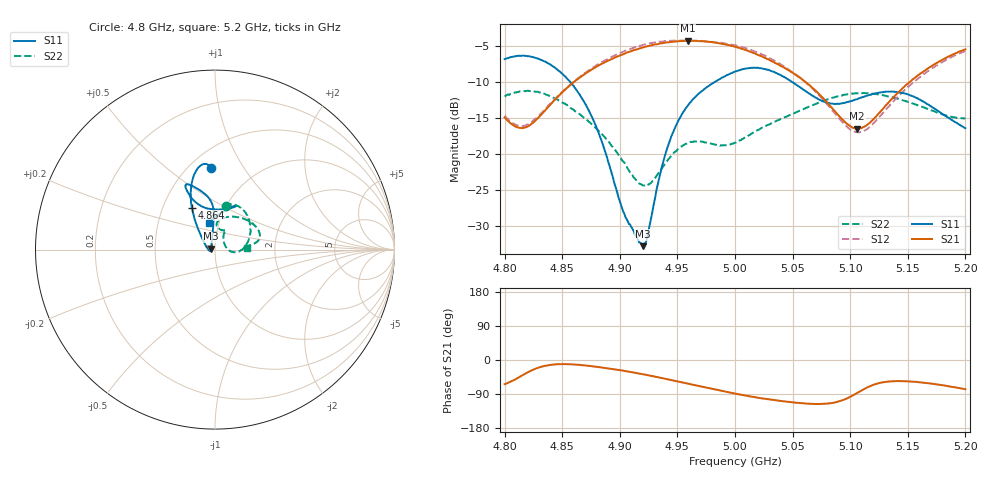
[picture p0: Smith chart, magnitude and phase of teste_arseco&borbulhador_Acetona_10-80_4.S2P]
! Network Analyzer HP8722D
! Hewlett-Packard
! Data name: Linha & Wilkinson
! Saver's name: Rodrigo Anjos
! Comments: Teste da utilização de aquisição
! continua pelo VNA HP8722D
! Time and date: 25/4/2025 15:18
!  Frequency  S11  S21  S12  S22
# HZ  S  MA R 50
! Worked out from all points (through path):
!   401 points, 4.8 GHz to 5.2 GHz, reference 50 ohm
!   highest |S21| = -4.26 dB at 4.959 GHz (marker M1); lowest = -16.5 dB at 5.106 GHz (marker M2)
!   lowest |S11| = -32.7 dB at 4.92 GHz (marker M3), VSWR 1.05, Z = 47.8 + j0.475 ohm
!   |S11| at or under -10 dB: 4.857 GHz to 4.982 GHz (125.3 MHz wide, 2.55 % of centre); 5.05 GHz to end of sweep
!   |S22| runs from -24.4 to -11.2 dB; largest |S21 - S12| = 1.1
!   S11 on the Smith chart (normalised r, x): 4.8 GHz: 0.63, +0.73; 4.864 GHz: 0.70, +0.35; 5.2 GHz: 0.90, +0.27
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4.8e9  0.4557 92.7  0.1795 -63.7  0.1846 69.3  0.2506 76.4
4.82e9  0.4767 99.0  0.1554 -32.5  0.161 97.7  0.2751 61.5
4.843e9  0.4009 108.5  0.2352 -11.9  0.2389 118.3  0.2454 37.8
4.864e9  0.2672 118.8  0.3337 -12.6  0.3377 120.6  0.1917 14.9
4.867e9  0.2452 120.5  0.3476 -13.6  0.3514 120.3  0.1843 11.7
4.883e9  0.1309 131.6  0.417 -19.2  0.4275 117.2  0.1413 -2.2
4.904e9  0.03861 178.4  0.4961 -28.9  0.5164 110.1  0.08729 -6.4
4.92e9  0.02305 167.6  0.5483 -37.8  0.5731 101.8  0.06083 20.5
4.924e9  0.02715 139.8  0.5599 -39.9  0.5811 99.5  0.06209 31.4
4.934e9  0.06762 103.8  0.5821 -46.2  0.6021 93.3  0.07501 50.9
4.945e9  0.1344 94.2  0.5985 -53.3  0.6111 86.5  0.09778 59.8
4.959e9  0.217 92.0  0.6122 -62.4  0.6117 77.4  0.1195 61.3
4.977e9  0.297 97.9  0.6016 -74.1  0.6027 65.8  0.1197 63.6
5e9  0.3733 109.2  0.5547 -88.6  0.5685 51.0  0.12 81.1
5.029e9  0.3839 115.4  0.4553 -103.6  0.4684 34.2  0.1599 83.8
5.067e9  0.2549 107.7  0.2891 -115.7  0.2864 23.4  0.2176 56.5
5.086e9  0.2226 90.5  0.2012 -112.4  0.1947 28.5  0.2473 39.5
5.106e9  0.2404 72.1  0.1499 -87.0  0.1418 55.8  0.2638 24.6
5.116e9  0.2562 66.8  0.1626 -70.8  0.1521 73.2  0.2637 19.2
5.134e9  0.271 64.4  0.2314 -56.6  0.2162 88.6  0.2507 12.6
5.169e9  0.2174 77.3  0.4004 -61.8  0.3829 84.9  0.2028 7.6
5.2e9  0.1512 102.2  0.532 -77.1  0.5172 70.3  0.1766 2.9
